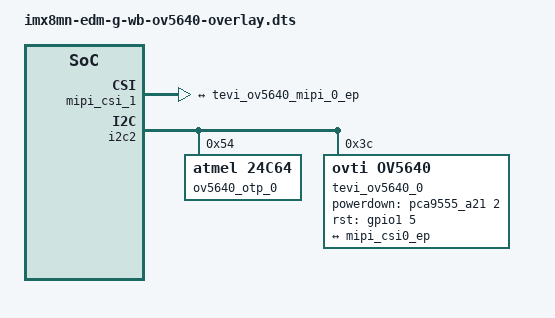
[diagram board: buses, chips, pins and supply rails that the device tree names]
// SPDX-License-Identifier: (GPL-2.0+ OR MIT)
/*
 * Copyright 2020 TechNexion Ltd.
 *
 * Author: Richard Hu <richard.hu@technexion.com>
 *         Ray Chang <ray.chang@technexion.com>
 *
 */

/dts-v1/;
/plugin/;

#include <dt-bindings/interrupt-controller/irq.h>
#include <dt-bindings/clock/imx8mn-clock.h>
#include <dt-bindings/gpio/gpio.h>

/ {
	fragment@0 {
		target = <&mipi_csi_1>;
		__overlay__ {
			status = "okay";
			#address-cells = <1>;
			#size-cells = <0>;

			port@0 {
				mipi_csi0_ep: endpoint@0 {
					remote-endpoint = <&tevi_ov5640_mipi_0_ep>;
					data-lanes = <2>;
					csis-hs-settle = <13>;
					csis-clk-settle = <2>;
					csis-wclk;
				};
			};
		};
	};

	fragment@1 {
		target = <&i2c2>;
		__overlay__ {
			#address-cells = <1>;
			#size-cells = <0>;

			ov5640_otp_0: eeprom@54 {
				compatible = "atmel,24c64";
				reg = <0x54>;
				//read-only;
			};

			tevi_ov5640_0: tevi_ov5640_mipi@3c {
				compatible = "ovti,ov5640";
				reg = <0x3c>;
				pinctrl-names = "default";
				pinctrl-0 = <&pinctrl_csi_rst>;
				clocks = <&clk IMX8MN_CLK_CLKO1>;
				clock-names = "xclk";
				assigned-clocks = <&clk IMX8MN_CLK_CLKO1>;
				assigned-clock-parents = <&clk IMX8MN_CLK_24M>;
				assigned-clock-rates = <24000000>;
				csi_id = <0>;
				powerdown-gpios = <&pca9555_a21 2 GPIO_ACTIVE_HIGH>;
				rst-gpios = <&gpio1 5 GPIO_ACTIVE_HIGH>;
				mclk = <24000000>;
				mclk_source = <0>;
				mipi_csi;
				nvmem = <&ov5640_otp_0>;
				nvmem-names = "calib-data";
				status = "okay";

				port@0 {
					tevi_ov5640_mipi_0_ep: endpoint@0 {
						remote-endpoint = <&mipi_csi0_ep>;
						data-lanes = <1 2>;
						clock-lanes = <0>;
					};
				};
			};
		};
	};
};
